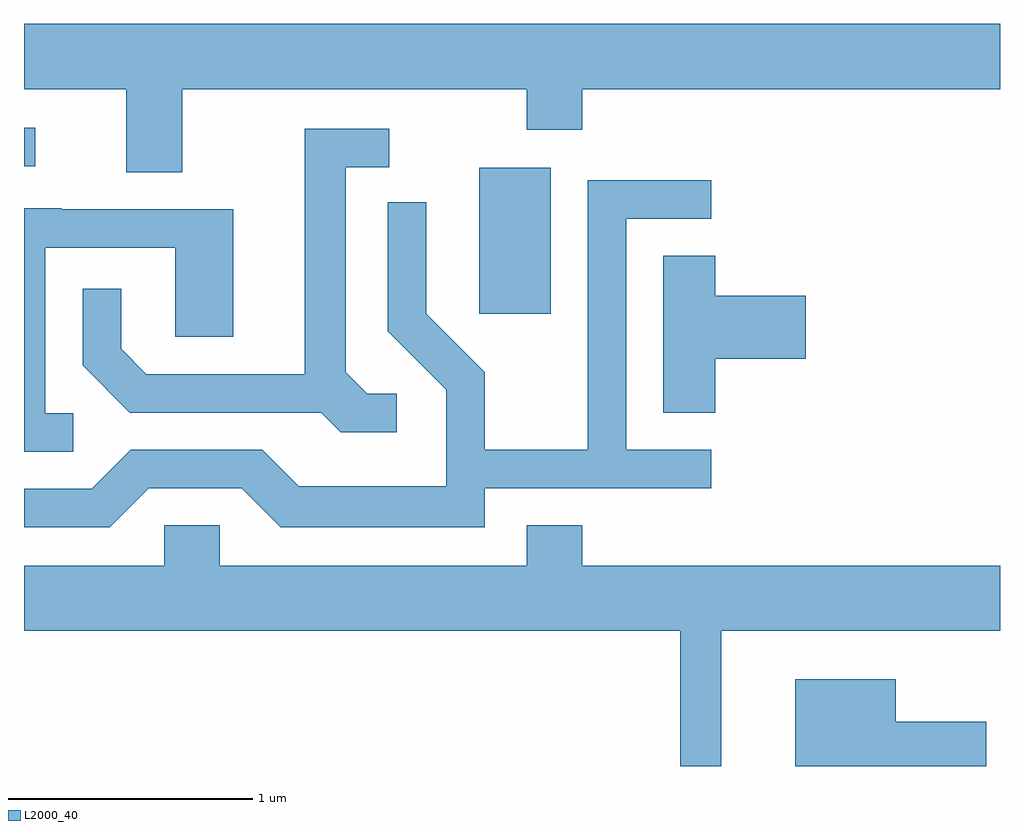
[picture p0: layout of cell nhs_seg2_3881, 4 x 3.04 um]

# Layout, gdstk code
import gdstk
lib = gdstk.Library(unit=1e-6, precision=1e-09)
def R(c, l, rs):  # rectangles x0, y0, x1, y1
    for r in rs: c.add(gdstk.rectangle(r[:2], r[2:], *l))
def P(c, l, *ps):  # polygons
    for p in ps: c.add(gdstk.Polygon(p, *l))
L2000_40 = (2000, 40)

nhs_seg2_3881 = lib.new_cell('nhs_seg2_3881')
R(nhs_seg2_3881, L2000_40, [(301.476,1009.656,301.769,1010.254), (299.611,1010.261,299.658,1010.419)])
P(nhs_seg2_3881, L2000_40, [(300.259,1010.576),(301.671,1010.576),(301.671,1010.411),(301.899,1010.411),(301.899,1010.576),(303.611,1010.576),(303.611,1010.844),(299.611,1010.844),(299.611,1010.576),(300.031,1010.576),(300.031,1010.236),(300.259,1010.236)],
  [(301.138,1009.329),(301.017,1009.329),(300.929,1009.417),(300.929,1010.256),(301.108,1010.256),(301.108,1010.414),(300.761,1010.414),(300.761,1009.409),(300.112,1009.409),(300.009,1009.512),(300.009,1009.758),(299.851,1009.758),(299.851,1009.444),(300.044,1009.251),(300.829,1009.251),(300.909,1009.171),(301.138,1009.171)],
  [(300.122,1008.941),(300.504,1008.941),(300.664,1008.781),(301.499,1008.781),(301.499,1008.941),(302.428,1008.941),(302.428,1009.099),(302.079,1009.099),(302.079,1010.046),(302.428,1010.046),(302.428,1010.204),(301.921,1010.204),(301.921,1009.099),(301.499,1009.099),(301.499,1009.417),(301.259,1009.657),(301.259,1010.113),(301.101,1010.113),(301.101,1009.584),(301.341,1009.344),(301.341,1008.949),(300.737,1008.949),(300.587,1009.099),(300.049,1009.099),(299.889,1008.939),(299.611,1008.939),(299.611,1008.781),(299.962,1008.781)],
  [(299.813,1009.249),(299.699,1009.249),(299.699,1009.926),(300.231,1009.926),(300.231,1009.561),(300.469,1009.561),(300.469,1010.084),(299.765,1010.084),(299.765,1010.089),(299.611,1010.089),(299.611,1009.091),(299.813,1009.091)],
  [(302.444,1009.471),(302.814,1009.471),(302.814,1009.729),(302.444,1009.729),(302.444,1009.894),(302.231,1009.894),(302.231,1009.251),(302.444,1009.251)],
  [(302.469,1008.356),(303.611,1008.356),(303.611,1008.624),(301.899,1008.624),(301.899,1008.789),(301.671,1008.789),(301.671,1008.624),(300.414,1008.624),(300.414,1008.789),(300.186,1008.789),(300.186,1008.624),(299.611,1008.624),(299.611,1008.356),(302.301,1008.356),(302.301,1007.802),(302.469,1007.802)],
  [(303.554,1007.984),(303.184,1007.984),(303.184,1008.159),(302.771,1008.159),(302.771,1007.802),(303.554,1007.802)])

lib.write_gds('nhs_seg2_3881.gds')
